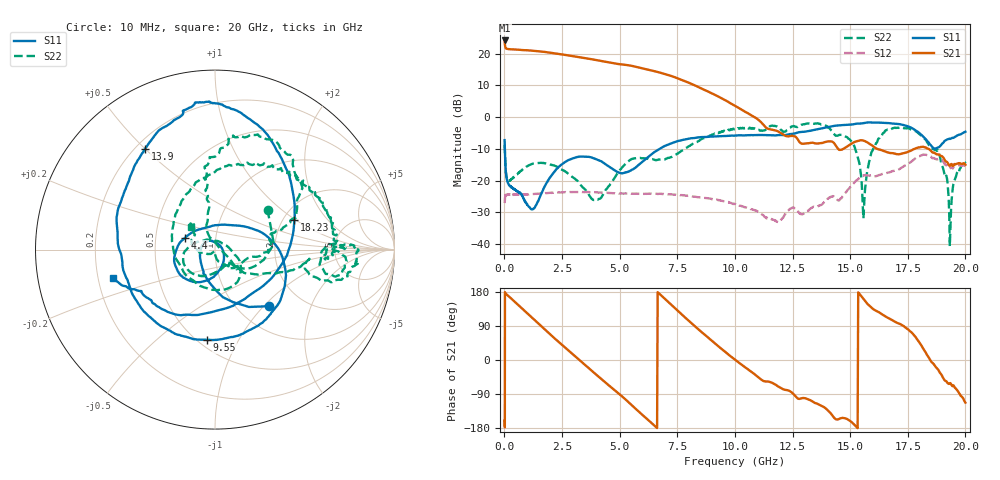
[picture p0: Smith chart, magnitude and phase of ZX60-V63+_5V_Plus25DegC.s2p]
!Mini-Circuits Laboratory
!S-Parameters
!Model: ZX60-V63+
!Run / Lot / Date Code: E114204 /  / NA
!Fixture:
!Network Analyzer: PNA-X N5242A - 423 4 ports;  Serial number: 71932
!Date: 10/26/2011 at 11:41:28 AM
!S/N: Unit# 1 (Unit5)
!Tested with:
# Hz  S  dB  R  50
!Frequency  S11 dB  S11 Deg  S21 dB  S21 Deg  S12 dB  S12 Deg  S22 dB  S22 Deg
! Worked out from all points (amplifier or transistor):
!   959 points, 10 MHz to 20 GHz, reference 50 ohm
!   highest |S21| = 24.2 dB at 10 MHz (marker M1)
!   |S21| within 3 dB of that: start of sweep to 736.1 MHz
!   unconditionally stable (mu >= 1): 54.36 MHz to end of sweep
!   at 805 MHz: K = 1.06, MAG = 21.3 dB, |S12| = -24.4 dB
!   at 8.025 GHz: K = 1.88, MAG = 12.4 dB, |S12| = -24.8 dB
!   at 20 GHz: K = 10.75, MAG = -13.0 dB, |S12| = -15.6 dB
!   S11 on the Smith chart (normalised r, x): 10 MHz: 1.38, -1.07; 4.4 GHz: 0.71, +0.10; 9.55 GHz: 0.55, -0.75; 13.9 GHz: 0.24, +0.50; 18.23 GHz: 2.30, +0.97; 20 GHz: 0.26, -0.13
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1e7  -7.23 -46.4  24.19 -159.7  -27.05 41.8  -8.69 37.2
3.5e7  -13.43 -91.6  22.26 176.9  -25.02 21.3  -13.93 -31.8
5e7  -15.86 -108.2  21.90 175.4  -23.74 12.3  -15.79 -42.5
4.7e8  -22.90 155.3  21.33 152.4  -24.42 -9.0  -18.44 -78.7
1e9  -27.67 90.4  21.09 122.8  -24.33 -21.7  -15.41 -121.1
1.425e9  -26.96 -8.5  20.82 98.9  -24.10 -31.9  -14.47 -145.7
1.875e9  -20.22 -66.4  20.45 73.7  -23.90 -44.3  -14.71 -164.3
2.45e9  -15.09 -104.3  19.84 42.4  -23.69 -60.7  -16.42 176.2
3.35e9  -12.42 -147.9  18.79 -5.3  -23.55 -89.0  -21.68 142.6
4.4e9  -14.89 158.5  17.44 -60.2  -23.80 -126.1  -22.84 15.2
5.1e9  -17.66 106.3  16.63 -95.7  -24.01 -150.6  -15.89 -28.5
5.725e9  -15.69 55.8  15.87 -130.4  -24.15 -175.6  -12.87 -68.4
6.675e9  -10.22 11.9  14.20 177.6  -24.17 144.0  -13.36 -134.7
7.825e9  -7.03 -31.5  11.39 113.0  -24.60 90.8  -10.05 128.4
9.55e9  -5.93 -95.0  5.45 22.8  -26.55 11.3  -4.34 42.1
1.0025e10  -5.79 -110.1  3.51 0.0  -27.43 -8.5  -3.55 23.1
1.335e10  -4.15 140.0  -8.05 -108.8  -28.51 -79.8  -2.09 -2.3
1.39e10  -3.30 124.7  -7.86 -125.6  -26.55 -88.8  -2.46 -11.4
1.56e10  -1.86 99.1  -7.41 159.2  -18.31 -151.5  -28.81 83.9
1.6675e10  -1.87 86.9  -11.19 110.1  -17.43 158.5  -3.94 80.0
1.8225e10  -6.53 20.3  -9.47 24.6  -11.82 57.0  -6.72 21.5
2e10  -4.58 -164.3  -14.98 -112.6  -15.60 -107.8  -14.57 136.5
